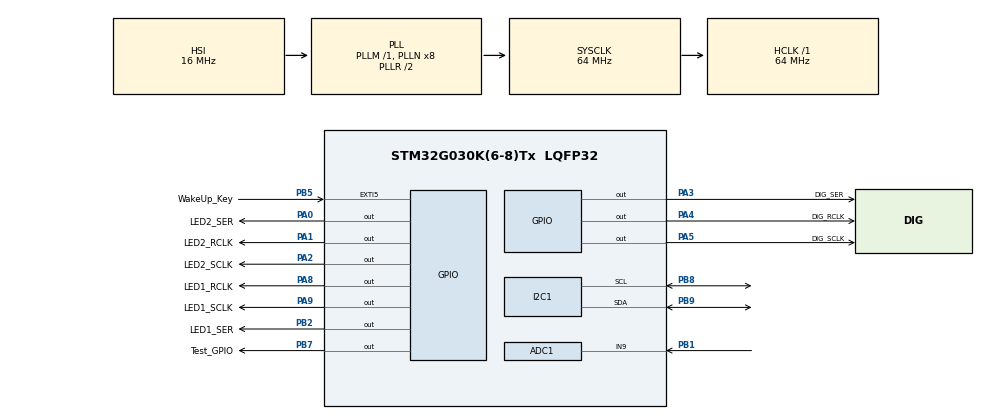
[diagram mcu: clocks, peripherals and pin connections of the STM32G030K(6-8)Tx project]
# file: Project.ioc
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ADC1.Channel-0\#ChannelRegularConversion=ADC_CHANNEL_9
ADC1.NbrOfConversionFlag=1
ADC1.Rank-0\#ChannelRegularConversion=1
ADC1.SamplingTime-0\#ChannelRegularConversion=ADC_SAMPLINGTIME_COMMON_1
ADC1.SamplingTimeCommon1=ADC_SAMPLETIME_160CYCLES_5
ADC1.SamplingTimeCommon2=ADC_SAMPLETIME_160CYCLES_5
ADC1.SelectedChannel=ADC_CHANNEL_9
ADC1.master=1
I2C1.Timing=0x10707DBC
Mcu.Family=STM32G0
Mcu.Name=STM32G030K(6-8)Tx
Mcu.Package=LQFP32
NVIC.EXTI4_15_IRQn=true\:1\:0\:true\:false\:true\:true\:true\:true
NVIC.TIM14_IRQn=true\:2\:0\:true\:false\:true\:true\:true\:true
PA0.GPIO_Label=LED2_SER
PA0.GPIO_Speed=GPIO_SPEED_FREQ_VERY_HIGH
PA0.Signal=GPIO_Output
PA1.GPIO_Label=LED2_RCLK
PA1.GPIO_Speed=GPIO_SPEED_FREQ_VERY_HIGH
PA1.Signal=GPIO_Output
PA13.Mode=Serial_Wire
PA13.Signal=SYS_SWDIO
PA14-BOOT0.Mode=Serial_Wire
PA14-BOOT0.Signal=SYS_SWCLK
PA2.GPIO_Label=LED2_SCLK
PA2.GPIO_Speed=GPIO_SPEED_FREQ_VERY_HIGH
PA2.Signal=GPIO_Output
PA3.GPIO_Label=DIG_SER
PA3.GPIO_Speed=GPIO_SPEED_FREQ_VERY_HIGH
PA3.Signal=GPIO_Output
PA4.GPIO_Label=DIG_RCLK
PA4.GPIO_Speed=GPIO_SPEED_FREQ_VERY_HIGH
PA4.Signal=GPIO_Output
PA5.GPIO_Label=DIG_SCLK
PA5.GPIO_Speed=GPIO_SPEED_FREQ_VERY_HIGH
PA5.Signal=GPIO_Output
PA8.GPIO_Label=LED1_RCLK
PA8.GPIO_Speed=GPIO_SPEED_FREQ_VERY_HIGH
PA8.Signal=GPIO_Output
PA9.GPIO_Label=LED1_SCLK
PA9.GPIO_Speed=GPIO_SPEED_FREQ_VERY_HIGH
PA9.Signal=GPIO_Output
PB1.Mode=IN9
PB1.Signal=ADC1_IN9
PB2.GPIO_Label=LED1_SER
PB2.GPIO_Speed=GPIO_SPEED_FREQ_VERY_HIGH
PB2.Signal=GPIO_Output
PB5.GPIO_Label=WakeUp_Key
PB5.GPIO_ModeDefaultEXTI=GPIO_MODE_IT_RISING_FALLING
PB5.GPIO_PuPd=GPIO_PULLUP
PB5.Signal=GPXTI5
PB7.GPIO_Label=Test_GPIO
PB7.Signal=GPIO_Output
PB8.Mode=I2C
PB8.Signal=I2C1_SCL
PB9.Mode=I2C
PB9.Signal=I2C1_SDA
ProjectManager.HeapSize=0x200
ProjectManager.StackSize=0x400
ProjectManager.TargetToolchain=MDK-ARM V5.32
RCC.ADCFreq_Value=64000000
RCC.AHBFreq_Value=64000000
RCC.CortexFreq_Value=64000000
RCC.EXTERNAL_CLOCK_VALUE=12288000
RCC.HCLKFreq_Value=64000000
RCC.HSE_VALUE=8000000
RCC.HSI_VALUE=16000000
RCC.LSE_VALUE=32768
RCC.SYSCLKFreq_VALUE=64000000
RCC.SYSCLKSource=RCC_SYSCLKSOURCE_PLLCLK
RCC.VCOOutputFreq_Value=128000000
TIM14.Period=1000-1
TIM14.Prescaler=64-1
VP_TIM14_VS_ClockSourceINT.Mode=Enable_Timer
board=custom

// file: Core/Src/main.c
/* USER CODE BEGIN Header */
/**
  ******************************************************************************
  * @file           : main.c
  * @brief          : Main program body
  ******************************************************************************
  * @attention
  *
  * Copyright (c) 2024 STMicroelectronics.
  * All rights reserved.
  *
  * This software is licensed under terms that can be found in the LICENSE file
  * in the root directory of this software component.
  * If no LICENSE file comes with this software, it is provided AS-IS.
  *
  ******************************************************************************
  */
/* USER CODE END Header */
#include "main.h"
#include "adc.h"
#include "i2c.h"
#include "tim.h"
#include "gpio.h"

/* USER CODE BEGIN Includes */

#include "Leds.h"
#include "SHT40.h"

/* USER CODE END Includes */

/* USER CODE BEGIN PD */

#define SHORT_PRESS_THRESHOLD 100 // 短按的阈值，单位为ms
#define LONG_PRESS_THRESHOLD 2000 // 长按的阈值，单位为ms

/* USER CODE END PD */

/* USER CODE BEGIN PV */

uint32_t buttonPressTime = 0;

struct
{
    uint8_t Key;
	uint8_t TempHumi;
	uint8_t Voltage;
    uint8_t Sleep;
}Status;

/* USER CODE END PV */

void SystemClock_Config(void);

int main(void)
{

  /* MCU Configuration--------------------------------------------------------*/

  /* Reset of all peripherals, Initializes the Flash interface and the Systick. */
  HAL_Init();

  /* Configure the system clock */
  SystemClock_Config();

  /* Initialize all configured peripherals */
  MX_GPIO_Init();
  MX_I2C1_Init();
  MX_ADC1_Init();
  MX_TIM14_Init();
  /* USER CODE BEGIN 2 */

  //使数码管全部熄灭
    HAL_Delay(100);
	SN74HC595_Send_Data(SN_DIG,0x00);
	SN74HC595_Send_Data(Temp_LED,0x00);
	SN74HC595_Send_Data(Humi_LED,0x00);

    Status.TempHumi = 0;
    Status.Voltage = 0;
    Status.Key = 0;
    Status.Sleep = 0;

    uint32_t ADC_Value = 0;
	float Data = 0;
	uint16_t Vol_Value = 0;

  	HAL_SuspendTick();	//暂停滴答定时器，防止通过滴答定时器中断唤醒
	HAL_PWR_EnterSLEEPMode(PWR_MAINREGULATOR_ON, PWR_SLEEPENTRY_WFI); /* 执行WFI指令, 进入睡眠模式 */

    HAL_GPIO_WritePin(Test_GPIO_GPIO_Port,Test_GPIO_Pin,GPIO_PIN_SET);

  /* USER CODE END 2 */

  /* Infinite loop */
  /* USER CODE BEGIN WHILE */
  while (1)
  {
    if(Status.TempHumi == 1 && Status.Voltage == 0)
    {
        if(Status.Key == 1)
        {
            Status.Key = 0;
            SHT40_Get();
        }
        ShowNum(Temp_LED,1,Temp/100);
        ShowNum(Temp_LED,2,Temp/ 10 % 10);
        ShowNum(Temp_LED,3,Temp%10);
        ShowNum(Humi_LED,1,Humi/100);
        ShowNum(Humi_LED,2,Humi/ 10 % 10);
        ShowNum(Humi_LED,3,Humi%10);
    }
    else if(Status.TempHumi == 0 && Status.Voltage == 1)
    {
        if(Status.Key == 1)
        {
            Status.Key = 0;
            HAL_ADC_Start(&hadc1);     //启动ADC转换
            HAL_ADC_PollForConversion(&hadc1, 50);   //等待转换完成，50为最大等待时间，单位为ms
            if(HAL_IS_BIT_SET(HAL_ADC_GetState(&hadc1), HAL_ADC_STATE_REG_EOC))
            {
                ADC_Value = HAL_ADC_GetValue(&hadc1);   //获取AD值
                Data = (ADC_Value*3.3f)/4095.0f;
            }
        }
        Vol_Value = (uint16_t)(Data * 100)*2;
		ShowVol(1,1,Vol_Value / 100);
		ShowVol(1,2,Vol_Value /10 %10);
		ShowVol(1,3,Vol_Value % 10);
        ShowVol(2,1,Vol_Value / 100);
		ShowVol(2,2,Vol_Value /10 %10);
		ShowVol(2,3,Vol_Value % 10);

    }
    if(Status.Sleep == 1)
    {
        HAL_SuspendTick();	//暂停滴答定时器，防止通过滴答定时器中断唤醒
        HAL_PWR_EnterSLEEPMode(PWR_MAINREGULATOR_ON, PWR_SLEEPENTRY_WFI); /* 执行WFI指令, 进入睡眠模式 */
        Status.Sleep = 0;
    }

    /* USER CODE END WHILE */

  }
}

void SystemClock_Config(void)
{
  RCC_OscInitTypeDef RCC_OscInitStruct = {0};
  RCC_ClkInitTypeDef RCC_ClkInitStruct = {0};

  /** Configure the main internal regulator output voltage
  */
  HAL_PWREx_ControlVoltageScaling(PWR_REGULATOR_VOLTAGE_SCALE1);

  /** Initializes the RCC Oscillators according to the specified parameters
  * in the RCC_OscInitTypeDef structure.
  */
  RCC_OscInitStruct.OscillatorType = RCC_OSCILLATORTYPE_HSI;
  RCC_OscInitStruct.HSIState = RCC_HSI_ON;
  RCC_OscInitStruct.HSIDiv = RCC_HSI_DIV1;
  RCC_OscInitStruct.HSICalibrationValue = RCC_HSICALIBRATION_DEFAULT;
  RCC_OscInitStruct.PLL.PLLState = RCC_PLL_ON;
  RCC_OscInitStruct.PLL.PLLSource = RCC_PLLSOURCE_HSI;
  RCC_OscInitStruct.PLL.PLLM = RCC_PLLM_DIV1;
  RCC_OscInitStruct.PLL.PLLN = 8;
  RCC_OscInitStruct.PLL.PLLP = RCC_PLLP_DIV2;
  RCC_OscInitStruct.PLL.PLLR = RCC_PLLR_DIV2;
  if (HAL_RCC_OscConfig(&RCC_OscInitStruct) != HAL_OK)
  {
    Error_Handler();
  }

  /** Initializes the CPU, AHB and APB buses clocks
  */
  RCC_ClkInitStruct.ClockType = RCC_CLOCKTYPE_HCLK|RCC_CLOCKTYPE_SYSCLK
                              |RCC_CLOCKTYPE_PCLK1;
  RCC_ClkInitStruct.SYSCLKSource = RCC_SYSCLKSOURCE_PLLCLK;
  RCC_ClkInitStruct.AHBCLKDivider = RCC_SYSCLK_DIV1;
  RCC_ClkInitStruct.APB1CLKDivider = RCC_HCLK_DIV1;

  if (HAL_RCC_ClockConfig(&RCC_ClkInitStruct, FLASH_LATENCY_2) != HAL_OK)
  {
    Error_Handler();
  }
}

/* USER CODE BEGIN 4 */

void HAL_GPIO_EXTI_Falling_Callback(uint16_t GPIO_Pin)
{
    if (GPIO_Pin == WakeUp_Key_Pin)
    {
        HAL_ResumeTick();   //恢复滴答定时器
        if (HAL_GPIO_ReadPin(WakeUp_Key_GPIO_Port, WakeUp_Key_Pin) == GPIO_PIN_RESET) // 按钮按下时
        {
            buttonPressTime = HAL_GetTick(); // 记录按下时间
            Status.Key = 1;
//            HAL_GPIO_TogglePin(Test_GPIO_GPIO_Port, Test_GPIO_Pin); // 切换测试LED状态
        }
    }
}

void HAL_GPIO_EXTI_Rising_Callback(uint16_t GPIO_Pin)
{
    if (GPIO_Pin == WakeUp_Key_Pin)
    {
        if (HAL_GPIO_ReadPin(WakeUp_Key_GPIO_Port, WakeUp_Key_Pin) == GPIO_PIN_SET) // 按钮松开时
        {
            uint32_t pressDuration = HAL_GetTick() - buttonPressTime;   // 记录按下持续时间
//            HAL_GPIO_TogglePin(Test_GPIO_GPIO_Port, Test_GPIO_Pin); // 例：切换一个LED

            if (pressDuration >= LONG_PRESS_THRESHOLD)// 长按操作
            {
//                HAL_GPIO_TogglePin(Test_GPIO_GPIO_Port, Test_GPIO_Pin); // 切换测试LED状态
                HAL_TIM_Base_Start_IT(&htim14);    //开始定时器
                Status.Voltage = 1;

            }
            else if (pressDuration >= SHORT_PRESS_THRESHOLD)// 短按操作
            {
//                HAL_GPIO_TogglePin(Test_GPIO_GPIO_Port, Test_GPIO_Pin); // 例：切换另一个LED的状态

                Status.TempHumi = 1;
//                SHT40_Get();
                HAL_TIM_Base_Start_IT(&htim14);    //开始定时器
            }
        }
    }
}

void HAL_TIM_PeriodElapsedCallback(TIM_HandleTypeDef *htim)
{
	if(htim->Instance == TIM14)
	{
        static uint16_t updata_flag = 0;
		updata_flag++;
        if(updata_flag == 3000)
		{
//            HAL_GPIO_TogglePin(Test_GPIO_GPIO_Port,Test_GPIO_Pin);
            updata_flag= 0;
            Status.TempHumi = 0;
            Status.Voltage = 0;
            Status.Sleep = 1;
            HAL_TIM_Base_Stop_IT(&htim14);  //关闭定时器

        }
	}
//    HAL_TIM_Base_Start_IT(&htim14);
}

/* USER CODE END 4 */

void Error_Handler(void)
{
  __disable_irq();
  while (1)
  {
  }
}
